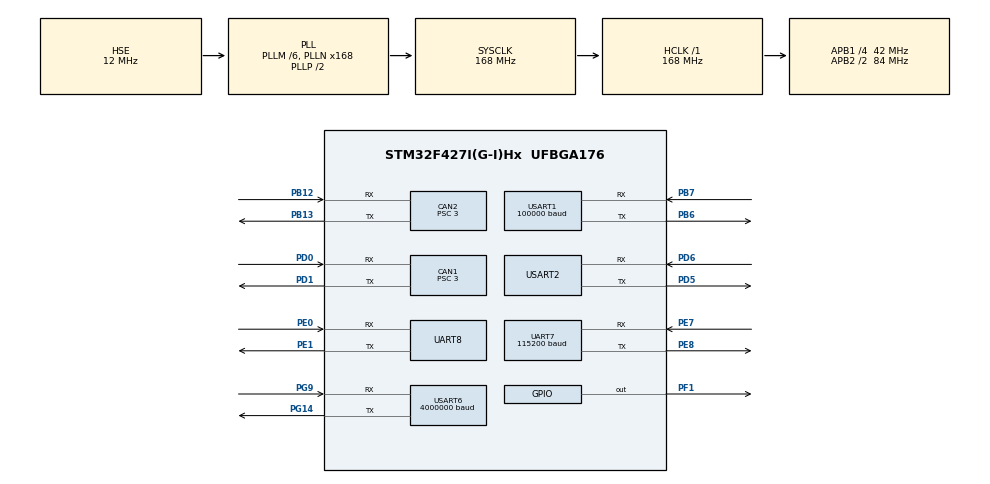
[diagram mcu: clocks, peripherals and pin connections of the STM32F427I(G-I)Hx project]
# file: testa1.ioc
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CAN1.BS1=CAN_BS1_10TQ
CAN1.BS2=CAN_BS2_3TQ
CAN1.CalculateBaudRate=1000000
CAN1.CalculateTimeBit=1000
CAN1.CalculateTimeQuantum=71.42857142857143
CAN1.NART=ENABLE
CAN1.Prescaler=3
CAN2.BS1=CAN_BS1_10TQ
CAN2.BS2=CAN_BS2_3TQ
CAN2.CalculateBaudRate=1000000
CAN2.CalculateTimeBit=1000
CAN2.CalculateTimeQuantum=71.42857142857143
CAN2.NART=ENABLE
CAN2.Prescaler=3
Dma.Request0=USART2_RX
Dma.Request1=USART6_RX
Dma.Request2=USART1_RX
Dma.Request3=UART7_RX
Dma.Request4=UART7_TX
Dma.Request5=USART6_TX
Dma.Request6=USART2_TX
Dma.UART7_RX.3.Direction=DMA_PERIPH_TO_MEMORY
Dma.UART7_RX.3.FIFOMode=DMA_FIFOMODE_DISABLE
Dma.UART7_RX.3.Instance=DMA1_Stream3
Dma.UART7_RX.3.MemDataAlignment=DMA_MDATAALIGN_BYTE
Dma.UART7_RX.3.MemInc=DMA_MINC_ENABLE
Dma.UART7_RX.3.Mode=DMA_CIRCULAR
Dma.UART7_RX.3.PeriphDataAlignment=DMA_PDATAALIGN_BYTE
Dma.UART7_RX.3.PeriphInc=DMA_PINC_DISABLE
Dma.UART7_RX.3.Priority=DMA_PRIORITY_LOW
Dma.UART7_TX.4.Direction=DMA_MEMORY_TO_PERIPH
Dma.UART7_TX.4.FIFOMode=DMA_FIFOMODE_DISABLE
Dma.UART7_TX.4.Instance=DMA1_Stream1
Dma.UART7_TX.4.MemDataAlignment=DMA_MDATAALIGN_BYTE
Dma.UART7_TX.4.MemInc=DMA_MINC_ENABLE
Dma.UART7_TX.4.Mode=DMA_NORMAL
Dma.UART7_TX.4.PeriphDataAlignment=DMA_PDATAALIGN_BYTE
Dma.UART7_TX.4.PeriphInc=DMA_PINC_DISABLE
Dma.UART7_TX.4.Priority=DMA_PRIORITY_LOW
Dma.USART1_RX.2.Direction=DMA_PERIPH_TO_MEMORY
Dma.USART1_RX.2.FIFOMode=DMA_FIFOMODE_DISABLE
Dma.USART1_RX.2.Instance=DMA2_Stream2
Dma.USART1_RX.2.MemDataAlignment=DMA_MDATAALIGN_BYTE
Dma.USART1_RX.2.MemInc=DMA_MINC_ENABLE
Dma.USART1_RX.2.Mode=DMA_CIRCULAR
Dma.USART1_RX.2.PeriphDataAlignment=DMA_PDATAALIGN_BYTE
Dma.USART1_RX.2.PeriphInc=DMA_PINC_DISABLE
Dma.USART1_RX.2.Priority=DMA_PRIORITY_LOW
Dma.USART2_RX.0.Direction=DMA_PERIPH_TO_MEMORY
Dma.USART2_RX.0.FIFOMode=DMA_FIFOMODE_DISABLE
Dma.USART2_RX.0.Instance=DMA1_Stream5
Dma.USART2_RX.0.MemDataAlignment=DMA_MDATAALIGN_BYTE
Dma.USART2_RX.0.MemInc=DMA_MINC_ENABLE
Dma.USART2_RX.0.Mode=DMA_CIRCULAR
Dma.USART2_RX.0.PeriphDataAlignment=DMA_PDATAALIGN_BYTE
Dma.USART2_RX.0.PeriphInc=DMA_PINC_DISABLE
Dma.USART2_RX.0.Priority=DMA_PRIORITY_LOW
Dma.USART2_TX.6.Direction=DMA_MEMORY_TO_PERIPH
Dma.USART2_TX.6.FIFOMode=DMA_FIFOMODE_DISABLE
Dma.USART2_TX.6.Instance=DMA1_Stream6
Dma.USART2_TX.6.MemDataAlignment=DMA_MDATAALIGN_BYTE
Dma.USART2_TX.6.MemInc=DMA_MINC_ENABLE
Dma.USART2_TX.6.Mode=DMA_NORMAL
Dma.USART2_TX.6.PeriphDataAlignment=DMA_PDATAALIGN_BYTE
Dma.USART2_TX.6.PeriphInc=DMA_PINC_DISABLE
Dma.USART2_TX.6.Priority=DMA_PRIORITY_LOW
Dma.USART6_RX.1.Direction=DMA_PERIPH_TO_MEMORY
Dma.USART6_RX.1.FIFOMode=DMA_FIFOMODE_DISABLE
Dma.USART6_RX.1.Instance=DMA2_Stream1
Dma.USART6_RX.1.MemDataAlignment=DMA_MDATAALIGN_BYTE
Dma.USART6_RX.1.MemInc=DMA_MINC_ENABLE
Dma.USART6_RX.1.Mode=DMA_CIRCULAR
Dma.USART6_RX.1.PeriphDataAlignment=DMA_PDATAALIGN_BYTE
Dma.USART6_RX.1.PeriphInc=DMA_PINC_DISABLE
Dma.USART6_RX.1.Priority=DMA_PRIORITY_LOW
Dma.USART6_TX.5.Direction=DMA_MEMORY_TO_PERIPH
Dma.USART6_TX.5.FIFOMode=DMA_FIFOMODE_DISABLE
Dma.USART6_TX.5.Instance=DMA2_Stream6
Dma.USART6_TX.5.MemDataAlignment=DMA_MDATAALIGN_BYTE
Dma.USART6_TX.5.MemInc=DMA_MINC_ENABLE
Dma.USART6_TX.5.Mode=DMA_NORMAL
Dma.USART6_TX.5.PeriphDataAlignment=DMA_PDATAALIGN_BYTE
Dma.USART6_TX.5.PeriphInc=DMA_PINC_DISABLE
Dma.USART6_TX.5.Priority=DMA_PRIORITY_LOW
FREERTOS.Tasks01=InitTask,3,128,Init_Task,As weak,NULL,Dynamic,NULL,NULL;PlatformTask,3,512,Platform_Task,As weak,NULL,Dynamic,NULL,NULL;CommunicateTask,3,512,Communicate_Task,As weak,NULL,Dynamic,NULL,NULL;RemoteTask,3,256,Remote_Task,As weak,NULL,Dynamic,NULL,NULL;ChassisTask,3,256,Chassis_Task,As weak,NULL,Dynamic,NULL,NULL;ServeTask,3,256,Serve_Task,As weak,NULL,Dynamic,NULL,NULL;GimbalTask,3,256,Gimbal_Task,As weak,NULL,Dynamic,NULL,NULL;RiseTask,-3,256,Rise_Task,As weak,NULL,Dynamic,NULL,NULL
Mcu.Family=STM32F4
Mcu.Name=STM32F427I(G-I)Hx
Mcu.Package=UFBGA176
NVIC.CAN1_RX0_IRQn=true\:5\:0\:false\:false\:true\:true\:true\:true\:true
NVIC.CAN1_RX1_IRQn=true\:5\:0\:false\:false\:true\:true\:true\:true\:true
NVIC.CAN2_RX0_IRQn=true\:5\:0\:false\:false\:true\:true\:true\:true\:true
NVIC.CAN2_RX1_IRQn=true\:5\:0\:false\:false\:true\:true\:true\:true\:true
NVIC.DMA1_Stream1_IRQn=true\:5\:0\:false\:false\:true\:true\:false\:true\:true
NVIC.DMA1_Stream3_IRQn=true\:5\:0\:false\:false\:true\:true\:false\:true\:true
NVIC.DMA1_Stream5_IRQn=true\:5\:0\:false\:false\:true\:true\:false\:true\:true
NVIC.DMA1_Stream6_IRQn=true\:5\:0\:false\:false\:true\:true\:false\:true\:true
NVIC.DMA2_Stream1_IRQn=true\:5\:0\:false\:false\:true\:true\:false\:true\:true
NVIC.DMA2_Stream2_IRQn=true\:5\:0\:false\:false\:true\:true\:false\:true\:true
NVIC.DMA2_Stream6_IRQn=true\:5\:0\:false\:false\:true\:true\:false\:true\:true
NVIC.PriorityGroup=NVIC_PRIORITYGROUP_4
NVIC.TIM6_DAC_IRQn=true\:15\:0\:false\:false\:true\:false\:false\:true\:true
NVIC.TimeBase=TIM6_DAC_IRQn
NVIC.TimeBaseIP=TIM6
NVIC.UART7_IRQn=true\:5\:0\:false\:false\:true\:true\:true\:true\:true
NVIC.UART8_IRQn=true\:5\:0\:false\:false\:true\:true\:true\:true\:true
NVIC.USART1_IRQn=true\:5\:0\:false\:false\:true\:true\:true\:true\:true
NVIC.USART2_IRQn=true\:5\:0\:false\:false\:true\:true\:true\:true\:true
NVIC.USART6_IRQn=true\:5\:0\:false\:false\:true\:true\:true\:true\:true
PA13.Mode=Serial_Wire
PA13.Signal=SYS_JTMS-SWDIO
PA14.Mode=Serial_Wire
PA14.Signal=SYS_JTCK-SWCLK
PB12.Mode=CAN_Activate
PB12.Signal=CAN2_RX
PB13.Mode=CAN_Activate
PB13.Signal=CAN2_TX
PB6.Mode=Asynchronous
PB6.Signal=USART1_TX
PB7.Mode=Asynchronous
PB7.Signal=USART1_RX
PD0.Mode=CAN_Activate
PD0.Signal=CAN1_RX
PD1.Mode=CAN_Activate
PD1.Signal=CAN1_TX
PD5.Mode=Asynchronous
PD5.Signal=USART2_TX
PD6.Mode=Asynchronous
PD6.Signal=USART2_RX
PE0.Mode=Asynchronous
PE0.Signal=UART8_RX
PE1.Mode=Asynchronous
PE1.Signal=UART8_TX
PE7.Mode=Asynchronous
PE7.Signal=UART7_RX
PE8.Mode=Asynchronous
PE8.Signal=UART7_TX
PF1.GPIO_ModeDefaultOutputPP=GPIO_MODE_OUTPUT_PP
PF1.GPIO_PuPd=GPIO_PULLDOWN
PF1.GPIO_Speed=GPIO_SPEED_FREQ_VERY_HIGH
PF1.PinState=GPIO_PIN_RESET
PF1.Signal=GPIO_Output
PG14.Mode=Asynchronous
PG14.Signal=USART6_TX
PG9.Mode=Asynchronous
PG9.Signal=USART6_RX
PH0/OSC_IN.Mode=HSE-External-Oscillator
PH0/OSC_IN.Signal=RCC_OSC_IN
PH1/OSC_OUT.Mode=HSE-External-Oscillator
PH1/OSC_OUT.Signal=RCC_OSC_OUT
ProjectManager.HeapSize=0x2000
ProjectManager.StackSize=0x4000
ProjectManager.TargetToolchain=MDK-ARM V5.27
RCC.48MHZClocksFreq_Value=84000000
RCC.AHBFreq_Value=168000000
RCC.APB1CLKDivider=RCC_HCLK_DIV4
RCC.APB1Freq_Value=42000000
RCC.APB1TimFreq_Value=84000000
RCC.APB2CLKDivider=RCC_HCLK_DIV2
RCC.APB2Freq_Value=84000000
RCC.APB2TimFreq_Value=168000000
RCC.CortexFreq_Value=168000000
RCC.HCLKFreq_Value=168000000
RCC.HSE_VALUE=12000000
RCC.HSI_VALUE=16000000
RCC.LSE_VALUE=32768
RCC.PLLM=6
RCC.PLLN=168
RCC.PLLSourceVirtual=RCC_PLLSOURCE_HSE
RCC.SYSCLKFreq_VALUE=168000000
RCC.SYSCLKSource=RCC_SYSCLKSOURCE_PLLCLK
RCC.VCOOutputFreq_Value=336000000
UART7.BaudRate=115200
UART7.VirtualMode=Asynchronous
UART8.VirtualMode=Asynchronous
USART1.BaudRate=100000
USART1.Parity=PARITY_EVEN
USART1.VirtualMode=VM_ASYNC
USART1.WordLength=WORDLENGTH_8B
USART2.VirtualMode=VM_ASYNC
USART6.BaudRate=4000000
USART6.VirtualMode=VM_ASYNC
VP_FREERTOS_VS_CMSIS_V1.Mode=CMSIS_V1
VP_SYS_VS_tim6.Mode=TIM6
board=custom

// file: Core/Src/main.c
/* USER CODE BEGIN Header */
/**
  ******************************************************************************
  * @file           : main.c
  * @brief          : Main program body
  ******************************************************************************
  * @attention
  *
  * Copyright (c) 2024 STMicroelectronics.
  * All rights reserved.
  *
  * This software is licensed under terms that can be found in the LICENSE file
  * in the root directory of this software component.
  * If no LICENSE file comes with this software, it is provided AS-IS.
  *
  ******************************************************************************
  */
/* USER CODE END Header */
#include "main.h"
#include "cmsis_os.h"
#include "can.h"
#include "dma.h"
#include "usart.h"
#include "gpio.h"

/* USER CODE BEGIN Includes */
#include "app_init.h"
#include "periph_motor.h"
#include "util_vofa.h"
#include "module_rise.h"
#include "util_bluetooth_tune.h"

// 定义变量
uint8_t bt_rx_byte;
char bt_rx_buffer[BT_RX_BUF_SIZE];
uint8_t bt_rx_idx = 0;

/* USER CODE END Includes */

/* USER CODE BEGIN PV */
volatile uint8_t bt_cmd_received_flag = 0; // 新增标志位

/* USER CODE END PV */

void SystemClock_Config(void);
void MX_FREERTOS_Init(void);
/* USER CODE BEGIN PFP */
extern uint8_t boardcom_Buffer[32];
/* USER CODE END PFP */

int main(void)
{

  /* MCU Configuration--------------------------------------------------------*/

  /* Reset of all peripherals, Initializes the Flash interface and the Systick. */
    HAL_Init();

  /* Configure the system clock */
  SystemClock_Config();

  /* Initialize all configured peripherals */
  MX_GPIO_Init();
  MX_DMA_Init();
  MX_CAN1_Init();
  MX_USART2_UART_Init();
  MX_USART6_UART_Init();
  MX_USART1_UART_Init();
  MX_CAN2_Init();
  MX_UART7_Init();
  MX_UART8_Init();
  /* USER CODE BEGIN 2 */
	Init_InitAll();
  // 2. !!! 在这里调用 VOFA 帧初始化 !!!
  Vofa_Frame_Init();
	HAL_UART_Receive_IT(&huart2, &bt_rx_byte, 1);

  // Motor_DM_Basic_Output(&Motor_Rise_Chop_Left_Motors , Motor_Enable);
	// HAL_Delay(1000);

  /* USER CODE END 2 */

  /* Call init function for freertos objects (in cmsis_os2.c) */
  MX_FREERTOS_Init();

  /* Start scheduler */
  osKernelStart();

  /* We should never get here as control is now taken by the scheduler */

  /* Infinite loop */
  while (1){
	}

  }

void SystemClock_Config(void)
{
  RCC_OscInitTypeDef RCC_OscInitStruct = {0};
  RCC_ClkInitTypeDef RCC_ClkInitStruct = {0};

  /** Configure the main internal regulator output voltage
  */
  __HAL_RCC_PWR_CLK_ENABLE();
  __HAL_PWR_VOLTAGESCALING_CONFIG(PWR_REGULATOR_VOLTAGE_SCALE1);

  /** Initializes the RCC Oscillators according to the specified parameters
  * in the RCC_OscInitTypeDef structure.
  */
  RCC_OscInitStruct.OscillatorType = RCC_OSCILLATORTYPE_HSE;
  RCC_OscInitStruct.HSEState = RCC_HSE_ON;
  RCC_OscInitStruct.PLL.PLLState = RCC_PLL_ON;
  RCC_OscInitStruct.PLL.PLLSource = RCC_PLLSOURCE_HSE;
  RCC_OscInitStruct.PLL.PLLM = 6;
  RCC_OscInitStruct.PLL.PLLN = 168;
  RCC_OscInitStruct.PLL.PLLP = RCC_PLLP_DIV2;
  RCC_OscInitStruct.PLL.PLLQ = 4;
  if (HAL_RCC_OscConfig(&RCC_OscInitStruct) != HAL_OK)
  {
    Error_Handler();
  }

  /** Initializes the CPU, AHB and APB buses clocks
  */
  RCC_ClkInitStruct.ClockType = RCC_CLOCKTYPE_HCLK|RCC_CLOCKTYPE_SYSCLK
                              |RCC_CLOCKTYPE_PCLK1|RCC_CLOCKTYPE_PCLK2;
  RCC_ClkInitStruct.SYSCLKSource = RCC_SYSCLKSOURCE_PLLCLK;
  RCC_ClkInitStruct.AHBCLKDivider = RCC_SYSCLK_DIV1;
  RCC_ClkInitStruct.APB1CLKDivider = RCC_HCLK_DIV4;
  RCC_ClkInitStruct.APB2CLKDivider = RCC_HCLK_DIV2;

  if (HAL_RCC_ClockConfig(&RCC_ClkInitStruct, FLASH_LATENCY_5) != HAL_OK)
  {
    Error_Handler();
  }
}

/* USER CODE BEGIN 4 */

// 在 main 初始化中开启中断 (USART3 为例)
// HAL_UART_Receive_IT(&huart3, &bt_rx_byte, 1);

// 回调函数
void HAL_UART_RxCpltCallback(UART_HandleTypeDef *huart) {
    if (huart->Instance == USART2) {

        // 收到结束符
        if (bt_rx_byte == '#' || bt_rx_byte == '\n') {
            bt_rx_buffer[bt_rx_idx] = '\0'; // 封口
            bt_cmd_received_flag = 1;       // ★只举旗，不干活★
            bt_rx_idx = 0;                  // 游标归零
        }
        else {
            if (bt_rx_idx < BT_RX_BUF_SIZE - 1) {
                bt_rx_buffer[bt_rx_idx++] = bt_rx_byte;
            } else {
                bt_rx_idx = 0; // 防溢出
            }
        }
        // 重新开启接收（这句不能少）
        HAL_UART_Receive_IT(&huart2, &bt_rx_byte, 1);
    }
}

/* USER CODE END 4 */

void HAL_TIM_PeriodElapsedCallback(TIM_HandleTypeDef *htim)
{
  if (htim->Instance == TIM6)
  {
    HAL_IncTick();
  }
}

void Error_Handler(void)
{
  __disable_irq();
  while (1)
  {
  }
}

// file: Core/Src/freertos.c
/* USER CODE BEGIN Header */
/**
  ******************************************************************************
  * File Name          : freertos.c
  * Description        : Code for freertos applications
  ******************************************************************************
  * @attention
  *
  * Copyright (c) 2024 STMicroelectronics.
  * All rights reserved.
  *
  * This software is licensed under terms that can be found in the LICENSE file
  * in the root directory of this software component.
  * If no LICENSE file comes with this software, it is provided AS-IS.
  *
  ******************************************************************************
  */
/* USER CODE END Header */

#include "FreeRTOS.h"
#include "task.h"
#include "main.h"
#include "cmsis_os.h"

osThreadId InitTaskHandle;
osThreadId PlatformTaskHandle;
osThreadId CommunicateTaskHandle;
osThreadId RemoteTaskHandle;
osThreadId ChassisTaskHandle;
osThreadId ServeTaskHandle;
osThreadId GimbalTaskHandle;
osThreadId RiseTaskHandle;

void Init_Task(void const * argument);
void Platform_Task(void const * argument);
void Communicate_Task(void const * argument);
void Remote_Task(void const * argument);
void Chassis_Task(void const * argument);
void Serve_Task(void const * argument);
void Gimbal_Task(void const * argument);
void Rise_Task(void const * argument);

void MX_FREERTOS_Init(void); /* (MISRA C 2004 rule 8.1) */

/* GetIdleTaskMemory prototype (linked to static allocation support) */
void vApplicationGetIdleTaskMemory( StaticTask_t **ppxIdleTaskTCBBuffer, StackType_t **ppxIdleTaskStackBuffer, uint32_t *pulIdleTaskStackSize );

/* USER CODE BEGIN GET_IDLE_TASK_MEMORY */
static StaticTask_t xIdleTaskTCBBuffer;
static StackType_t xIdleStack[configMINIMAL_STACK_SIZE];

void vApplicationGetIdleTaskMemory( StaticTask_t **ppxIdleTaskTCBBuffer, StackType_t **ppxIdleTaskStackBuffer, uint32_t *pulIdleTaskStackSize )
{
  *ppxIdleTaskTCBBuffer = &xIdleTaskTCBBuffer;
  *ppxIdleTaskStackBuffer = &xIdleStack[0];
  *pulIdleTaskStackSize = configMINIMAL_STACK_SIZE;
  /* place for user code */
}
/* USER CODE END GET_IDLE_TASK_MEMORY */

void MX_FREERTOS_Init(void) {

  /* Create the thread(s) */
  /* definition and creation of InitTask */
  osThreadDef(InitTask, Init_Task, osPriorityRealtime, 0, 128);
  InitTaskHandle = osThreadCreate(osThread(InitTask), NULL);

  /* definition and creation of PlatformTask */
  // osThreadDef(PlatformTask, Platform_Task, osPriorityRealtime, 0, 512);
  // PlatformTaskHandle = osThreadCreate(osThread(PlatformTask), NULL);

  /* definition and creation of CommunicateTask */
  osThreadDef(CommunicateTask, Communicate_Task, osPriorityRealtime, 0, 512);
  CommunicateTaskHandle = osThreadCreate(osThread(CommunicateTask), NULL);

  /* definition and creation of RemoteTask */
  // osThreadDef(RemoteTask, Remote_Task, osPriorityRealtime, 0, 256);
  // RemoteTaskHandle = osThreadCreate(osThread(RemoteTask), NULL);

  /* definition and creation of ChassisTask */
  // osThreadDef(ChassisTask, Chassis_Task, osPriorityRealtime, 0, 256);
  // ChassisTaskHandle = osThreadCreate(osThread(ChassisTask), NULL);

  /* definition and creation of ServeTask */
  // osThreadDef(ServeTask, Serve_Task, osPriorityRealtime, 0, 256);
  // ServeTaskHandle = osThreadCreate(osThread(ServeTask), NULL);

  /* definition and creation of GimbalTask */
  // osThreadDef(GimbalTask, Gimbal_Task, osPriorityRealtime, 0, 256);
  // GimbalTaskHandle = osThreadCreate(osThread(GimbalTask), NULL);

  /* definition and creation of RiseTask */
  osThreadDef(RiseTask, Rise_Task, osPriorityIdle, 0, 256);
  RiseTaskHandle = osThreadCreate(osThread(RiseTask), NULL);

}

__weak void Init_Task(void const * argument)
{
  for(;;)
  {
    osDelay(1);
  }
}

__weak void Platform_Task(void const * argument)
{
  for(;;)
  {
    osDelay(1);
  }
}

__weak void Communicate_Task(void const * argument)
{
  for(;;)
  {
    osDelay(1);
  }
}

__weak void Remote_Task(void const * argument)
{
  for(;;)
  {
    osDelay(1);
  }
}

__weak void Chassis_Task(void const * argument)
{
  for(;;)
  {
    osDelay(1);
  }
}

__weak void Serve_Task(void const * argument)
{
  for(;;)
  {
    osDelay(1);
  }
}

__weak void Gimbal_Task(void const * argument)
{
  for(;;)
  {
    osDelay(1);
  }
}

__weak void Rise_Task(void const * argument)
{
  for(;;)
  {
    osDelay(1);
  }
}
